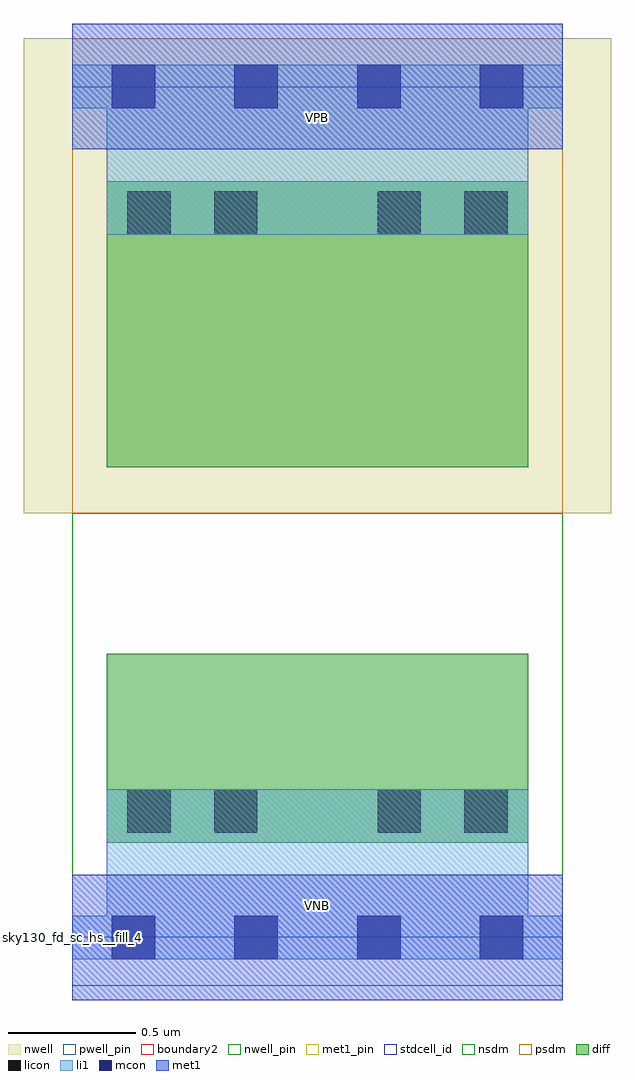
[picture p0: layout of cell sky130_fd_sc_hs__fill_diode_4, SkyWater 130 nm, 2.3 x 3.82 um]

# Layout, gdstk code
import gdstk
lib = gdstk.Library(unit=1e-6, precision=1e-09)
def R(c, l, rs):  # rectangles x0, y0, x1, y1
    for r in rs: c.add(gdstk.rectangle(r[:2], r[2:], *l))
def A(c, l, x, y, w, h, nx, ny, dx, dy):  # array of equal rectangles
    R(c, l, [(x+i*dx, y+j*dy, x+i*dx+w, y+j*dy+h) for i in range(nx) for j in range(ny)])
nwell_pin = (64, 16)
nwell = (64, 20)
diff = (65, 20)
licon = (66, 44)
li1 = (67, 20)
mcon = (67, 44)
met1_pin = (68, 16)
met1 = (68, 20)
stdcell_id = (81, 4)
nsdm = (93, 44)
psdm = (94, 20)
pwell_pin = (122, 16)
boundary2 = (236, 0)

sky130_fd_sc_hs__fill_di = lib.new_cell('sky130_fd_sc_hs__fill_diode_4')
R(sky130_fd_sc_hs__fill_di, nwell_pin, [(0,3.085,1.92,3.33)])
R(sky130_fd_sc_hs__fill_di, nwell, [(-0.19,1.66,2.11,3.52)])
R(sky130_fd_sc_hs__fill_di, diff, [(0.135,0.37,1.785,1.11), (0.135,1.84,1.785,2.96)])
R(sky130_fd_sc_hs__fill_di, licon, [(0.215,0.41,0.385,0.58), (0.555,0.41,0.725,0.58), (1.195,0.41,1.365,0.58), (1.535,0.41,1.705,0.58), (0.215,2.75,0.385,2.92), (0.555,2.75,0.725,2.92), (1.195,2.75,1.365,2.92), (1.535,2.75,1.705,2.92)])
R(sky130_fd_sc_hs__fill_di, li1, [(0,-0.085,1.92,0.085), (0.135,0.045,1.785,0.58), (0.135,2.75,1.785,3.245), (0,3.245,1.92,3.415)])
A(sky130_fd_sc_hs__fill_di, mcon, 0.155, -0.085, 0.17, 0.17, 4, 2, 0.48, 3.33)
R(sky130_fd_sc_hs__fill_di, met1_pin, [(0,0,1.92,0.245), (0,3.085,1.92,3.33)])
R(sky130_fd_sc_hs__fill_di, met1, [(0,-0.245,1.92,0.245), (0,3.085,1.92,3.575)])
R(sky130_fd_sc_hs__fill_di, stdcell_id, [(0,0,1.92,3.33)])
R(sky130_fd_sc_hs__fill_di, nsdm, [(0,-0.19,1.92,1.66)])
R(sky130_fd_sc_hs__fill_di, psdm, [(0,1.66,1.92,3.52)])
R(sky130_fd_sc_hs__fill_di, pwell_pin, [(0,0,1.92,0.245)])
R(sky130_fd_sc_hs__fill_di, boundary2, [(0,0,1.92,3.33)])
sky130_fd_sc_hs__fill_di.add(gdstk.Label('VNB', (0.96,0.123), layer=64, texttype=59))
sky130_fd_sc_hs__fill_di.add(gdstk.Label('VPB', (0.96,3.208), layer=64, texttype=5))
sky130_fd_sc_hs__fill_di.add(gdstk.Label('sky130_fd_sc_hs__fill_4', (0,0), layer=83, texttype=44))
sky130_fd_sc_hs__fill_di.add(gdstk.Label('VPWR', (0.96,3.208), layer=68, texttype=5))
sky130_fd_sc_hs__fill_di.add(gdstk.Label('VGND', (0.96,0.123), layer=68, texttype=5))

lib.write_gds('sky130_fd_sc_hs__fill_diode_4.gds')
